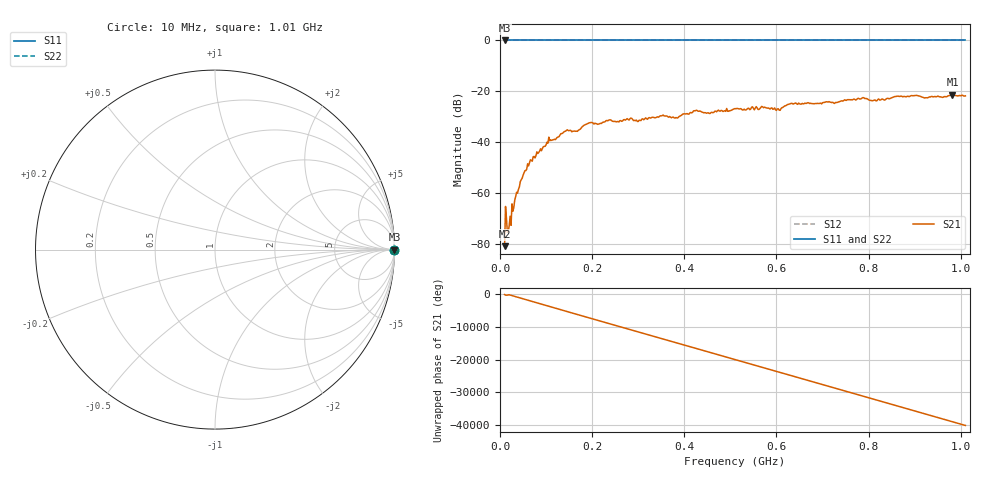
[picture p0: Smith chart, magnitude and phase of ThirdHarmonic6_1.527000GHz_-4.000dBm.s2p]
! 8/16/2025 6:03:01 PM
! C:\ANRITSUVNA\TEMP\TEMP.S2P
! CHANNEL.1
! TR.MEASUREMENT
! RAW.DATA
! RF.CORRECTION.OFF
! AVERAGING.OFF
! IF.BANDWIDTH: 5KHZ
! SWEEPTYPE:  FREQ.SWEEP(Linear)
! Reference Plane Port Info
! PORT:  PORT1  PORT2
! DISTANCE:  0  m  0  m
! TIME:  0  s  0  s
! PHASE.OFFSET:  0  deg.  0  deg.
! LOSS:  0  dB  0  dB
! REF.LOSS:  0  dB  0  dB
! REF.FREQ:  0  Hz  0  Hz
! Power Info
! POWER:  -20  dBm  -20  dBm
! EFF.POWER:  -20  dBm  -20  dBm
! SOURCE.ATTEN:  0  dB  0  dB
! TEST.ATTEN:  0  dB  0  dB
# GHZ S RI R 50.0
! FREQ.GHZ  S11RE  S11IM  S21RE  S21IM  S12RE  S12IM  S22RE  S22IM
!; PortSelection: Port_12
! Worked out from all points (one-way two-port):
!   501 points, 10 MHz to 1.01 GHz, reference 50 ohm
!   highest |S21| = -21.34 dB at 982 MHz (marker M1); lowest = -80.8 dB at 10 MHz (marker M2)
!   lowest |S11| = 0.0 dB at 10 MHz (marker M3)
!   |S11| at or under -10 dB: nowhere
!   |S22| runs from 0.0 to 0.0 dB; largest |S21 - S12| = 1.1
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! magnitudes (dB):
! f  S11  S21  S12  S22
! 10 MHz  0.0  -80.8  0.0  0.0
! 16 MHz  0.0  -75.3  0.0  0.0
! 20 MHz  0.0  -72.7  0.0  0.0
! 36 MHz  0.0  -59.6  0.0  0.0
! 48 MHz  0.0  -54.1  0.0  0.0
! 64 MHz  0.0  -48.1  0.0  0.0
! 106 MHz  0.0  -38.0  0.0  0.0
! 142 MHz  0.0  -35.6  0.0  0.0
! 166 MHz  0.0  -35.6  0.0  0.0
! 178 MHz  0.0  -34.0  0.0  0.0
! 196 MHz  0.0  -32.3  0.0  0.0
! 344 MHz  0.0  -30.1  0.0  0.0
! 382 MHz  0.0  -30.3  0.0  0.0
! 424 MHz  0.0  -27.6  0.0  0.0
! 452 MHz  0.0  -28.4  0.0  0.0
! 510 MHz  0.0  -26.8  0.0  0.0
! 604 MHz  0.0  -26.8  0.0  0.0
! 630 MHz  0.0  -24.8  0.0  0.0
! 678 MHz  0.0  -24.8  0.0  0.0
! 844 MHz  0.0  -22.9  0.0  0.0
! 982 MHz  0.0  -21.3  0.0  0.0
! 1.01 GHz  0.0  -21.8  0.0  0.0
